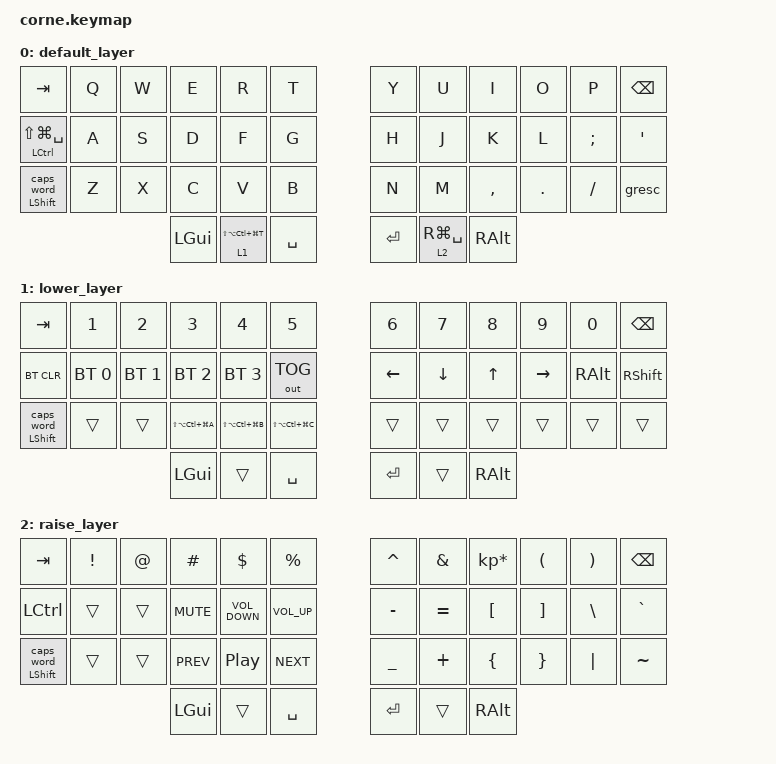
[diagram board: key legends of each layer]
/*
 * Copyright (c) 2020 The ZMK Contributors
 *
 * SPDX-License-Identifier: MIT
 */

#include <behaviors.dtsi>
// #include <dt-bindings/zmk/backlight.h>
#include <dt-bindings/zmk/bt.h>
#include <dt-bindings/zmk/keys.h>
#include <dt-bindings/zmk/outputs.h>

/ {
    combos {
        compatible = "zmk,combos";

        escape {
            bindings = <&kp ESCAPE>;
            key-positions = <19 20>;
        };

        telegram {
            bindings = <&kp LS(LA(LC(LG(E))))>;
            key-positions = <38 37>;
        };
    };

    behaviors {
        moAndKp: moAndKp {
            compatible = "zmk,behavior-hold-tap";
            label = "MOANDKP";
            bindings = <&mo>, <&kp>;

            #binding-cells = <2>;
            tapping-term-ms = <120>;
        };

        kpAndCaps: kpAndCaps {
            compatible = "zmk,behavior-hold-tap";
            label = "KPANDCAPS";
            bindings = <&kp>, <&caps_word>;

            #binding-cells = <2>;
            tapping-term-ms = <120>;
        };

        kpAndKp: kpAndKp {
            compatible = "zmk,behavior-hold-tap";
            label = "KPANDKP";
            bindings = <&kp>, <&kp>;

            #binding-cells = <2>;
            tapping-term-ms = <120>;
        };
    };

    macros {
        new_macro: new_macro {
            compatible = "zmk,behavior-macro";
            #binding-cells = <0>;
            bindings = <&bl BL_OFF>;
            label = "NEW_MACRO";
        };
    };

    keymap {
        compatible = "zmk,keymap";

        default_layer {
            // -----------------------------------------------------------------------------------------
            // |  TAB |  Q  |  W  |  E  |  R  |  T  |   |  Y  |  U   |  I  |  O  |  P  | BKSP |
            // | CTRL |  A  |  S  |  D  |  F  |  G  |   |  H  |  J   |  K  |  L  |  ;  |  '   |
            // | SHFT |  Z  |  X  |  C  |  V  |  B  |   |  N  |  M   |  ,  |  .  |  /  | ESC  |
            //                    | GUI | LWR | SPC |   | ENT | RSE  | ALT |

            bindings = <
&kp TAB                              &kp Q  &kp W  &kp E     &kp R                         &kp T        &kp Y    &kp U                 &kp I      &kp O    &kp P     &kp BSPC
&kpAndKp LEFT_CONTROL LS(LG(SPACE))  &kp A  &kp S  &kp D     &kp F                         &kp G        &kp H    &kp J                 &kp K      &kp L    &kp SEMI  &kp SQT
&kpAndCaps LSHFT 0                   &kp Z  &kp X  &kp C     &kp V                         &kp B        &kp N    &kp M                 &kp COMMA  &kp DOT  &kp FSLH  &gresc
                                                   &kp LGUI  &moAndKp 1 LS(LA(LC(LG(T))))  &kp SPACE    &kp RET  &moAndKp 2 RG(SPACE)  &kp RALT
            >;
        };

        lower_layer {
            // -----------------------------------------------------------------------------------------
            // |  TAB |  1  |  2  |  3  |  4  |  5  |   |  6  |  7  |  8  |  9  |  0  | BKSP |
            // | BTCLR| BT1 | BT2 | BT3 | BT4 | BTG |   | LFT | DWN |  UP | RGT |     |      |
            // | SHFT |     |     |     |     |     |   |     |     |     |     |     |      |
            //                    | GUI |     | SPC |   | ENT |     | ALT |

            bindings = <
&kp TAB                  &kp N1        &kp N2        &kp N3                 &kp N4                 &kp N5                   &kp N6    &kp N7    &kp N8    &kp N9     &kp N0    &kp BSPC
&bt BT_CLR               &bt BT_SEL 0  &bt BT_SEL 1  &bt BT_SEL 2           &bt BT_SEL 3           &out OUT_TOG             &kp LEFT  &kp DOWN  &kp UP    &kp RIGHT  &kp RALT  &kp RSHFT
&kpAndCaps LEFT_SHIFT 0  &trans        &trans        &kp LS(LA(LC(LG(A))))  &kp LS(LA(LC(LG(B))))  &kp LS(LA(LC(LG(C))))    &trans    &trans    &trans    &trans     &trans    &trans
                                                     &kp LGUI               &trans                 &kp SPACE                &kp RET   &trans    &kp RALT
            >;
        };

        raise_layer {
            // -----------------------------------------------------------------------------------------
            // |  TAB |  !  |  @  |  #  |  $  |  %  |   |  ^  |  &  |  *  |  (  |  )  | BKSP |
            // | CTRL |     |     |     |     |     |   |  -  |  =  |  [  |  ]  |  \  |  `   |
            // | SHFT |     |     |     |     |     |   |  _  |  +  |  {  |  }  | "|" |  ~   |
            //                    | GUI |     | SPC |   | ENT |     | ALT |

            bindings = <
&kp TAB              &kp EXCL  &kp AT  &kp HASH    &kp DLLR           &kp PRCNT       &kp CARET  &kp AMPS   &kp KP_MULTIPLY  &kp LPAR  &kp RPAR  &kp BSPC
&kp LCTRL            &trans    &trans  &kp K_MUTE  &kp K_VOLUME_DOWN  &kp K_VOL_UP    &kp MINUS  &kp EQUAL  &kp LBKT         &kp RBKT  &kp BSLH  &kp GRAVE
&kpAndCaps LSHIFT 0  &trans    &trans  &kp C_PREV  &kp C_PP           &kp C_NEXT      &kp UNDER  &kp PLUS   &kp LBRC         &kp RBRC  &kp PIPE  &kp TILDE
                                       &kp LGUI    &trans             &kp SPACE       &kp RET    &trans     &kp RALT
            >;
        };
    };
};
